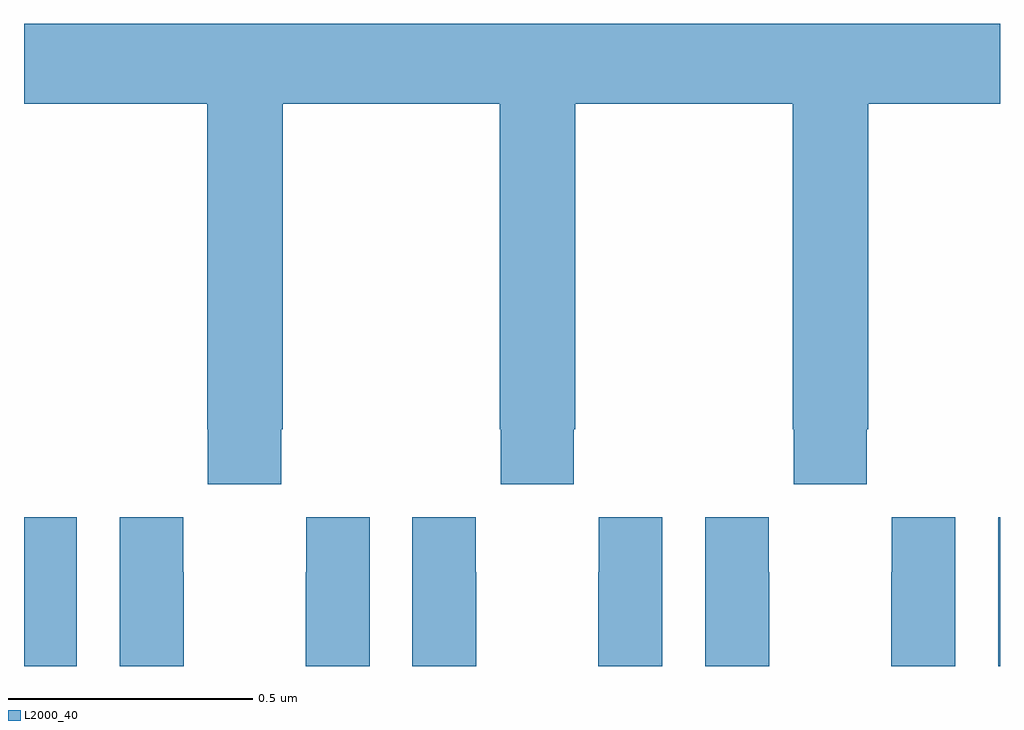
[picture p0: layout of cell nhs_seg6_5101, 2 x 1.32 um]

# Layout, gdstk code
import gdstk
lib = gdstk.Library(unit=1e-6, precision=1e-09)
def R(c, l, rs):  # rectangles x0, y0, x1, y1
    for r in rs: c.add(gdstk.rectangle(r[:2], r[2:], *l))
def P(c, l, *ps):  # polygons
    for p in ps: c.add(gdstk.Polygon(p, *l))
L2000_40 = (2000, 40)

nhs_seg6_5101 = lib.new_cell('nhs_seg6_5101')
R(nhs_seg6_5101, L2000_40, [(178,963.5,178.108,963.805), (179.996,963.5,180,963.805)])
P(nhs_seg6_5101, L2000_40, [(178.527,963.985),(178.53,963.985),(178.53,964.652),(178.975,964.652),(178.975,963.985),(178.977,963.985),(178.977,963.873),(179.127,963.873),(179.127,963.985),(179.13,963.985),(179.13,964.652),(179.575,964.652),(179.575,963.985),(179.577,963.985),(179.577,963.873),(179.727,963.873),(179.727,963.985),(179.73,963.985),(179.73,964.652),(180,964.652),(180,964.816),(178,964.816),(178,964.652),(178.375,964.652),(178.375,963.985),(178.377,963.985),(178.377,963.873),(178.527,963.873)],
  [(179.308,963.805),(179.178,963.805),(179.178,963.692),(179.177,963.692),(179.177,963.5),(179.308,963.5)],
  [(178.327,963.692),(178.326,963.692),(178.326,963.805),(178.196,963.805),(178.196,963.5),(178.327,963.5)],
  [(178.708,963.805),(178.578,963.805),(178.578,963.692),(178.577,963.692),(178.577,963.5),(178.708,963.5)],
  [(178.927,963.692),(178.926,963.692),(178.926,963.805),(178.796,963.805),(178.796,963.5),(178.927,963.5)],
  [(179.527,963.692),(179.526,963.692),(179.526,963.805),(179.396,963.805),(179.396,963.5),(179.527,963.5)],
  [(179.908,963.805),(179.778,963.805),(179.778,963.692),(179.777,963.692),(179.777,963.5),(179.908,963.5)])

lib.write_gds('nhs_seg6_5101.gds')
